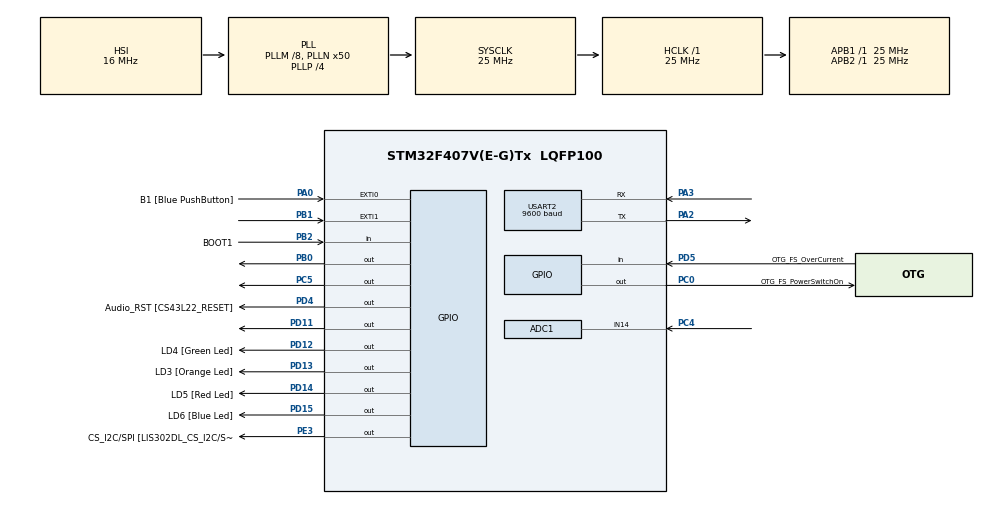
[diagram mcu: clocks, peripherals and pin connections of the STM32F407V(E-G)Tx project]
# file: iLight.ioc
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ADC1.Channel-0\#ChannelRegularConversion=ADC_CHANNEL_14
ADC1.NbrOfConversionFlag=1
ADC1.Rank-0\#ChannelRegularConversion=1
ADC1.SamplingTime-0\#ChannelRegularConversion=ADC_SAMPLETIME_3CYCLES
ADC1.master=1
Mcu.Family=STM32F4
Mcu.Name=STM32F407V(E-G)Tx
Mcu.Package=LQFP100
NVIC.EXTI1_IRQn=true\:0\:0\:false\:false\:true\:true
NVIC.PriorityGroup=NVIC_PRIORITYGROUP_0
NVIC.TIM1_UP_TIM10_IRQn=true\:0\:0\:false\:false\:true\:true
NVIC.TIM2_IRQn=true\:0\:0\:false\:false\:true\:true
NVIC.TIM8_TRG_COM_TIM14_IRQn=true\:0\:0\:false\:false\:true\:true
NVIC.USART2_IRQn=true\:0\:0\:false\:false\:true\:true
PA0-WKUP.GPIO_Label=B1 [Blue PushButton]
PA0-WKUP.Signal=GPXTI0
PA10.GPIO_Label=OTG_FS_ID
PA10.GPIO_Mode=GPIO_MODE_AF_PP
PA10.GPIO_PuPd=GPIO_NOPULL
PA10.GPIO_Speed=GPIO_SPEED_FREQ_LOW
PA10.Signal=USB_OTG_FS_ID
PA11.GPIO_Label=OTG_FS_DM
PA11.GPIO_Mode=GPIO_MODE_AF_PP
PA11.GPIO_PuPd=GPIO_NOPULL
PA11.GPIO_Speed=GPIO_SPEED_FREQ_LOW
PA11.Signal=USB_OTG_FS_DM
PA12.GPIO_Label=OTG_FS_DP
PA12.GPIO_Mode=GPIO_MODE_AF_PP
PA12.GPIO_PuPd=GPIO_NOPULL
PA12.GPIO_Speed=GPIO_SPEED_FREQ_LOW
PA12.Signal=USB_OTG_FS_DP
PA13.GPIO_Label=SWDIO
PA13.Signal=SYS_JTMS-SWDIO
PA14.GPIO_Label=SWCLK
PA14.Signal=SYS_JTCK-SWCLK
PA2.Mode=Asynchronous
PA2.Signal=USART2_TX
PA3.Mode=Asynchronous
PA3.Signal=USART2_RX
PA9.GPIO_Label=VBUS_FS
PA9.GPIO_Mode=GPIO_MODE_INPUT
PA9.GPIO_PuPd=GPIO_NOPULL
PA9.Signal=USB_OTG_FS_VBUS
PB0.Signal=GPIO_Output
PB1.GPIO_ModeDefaultEXTI=GPIO_MODE_IT_RISING_FALLING
PB1.Signal=GPXTI1
PB10.GPIO_Label=CLK_IN [MP45DT02_CLK]
PB10.GPIO_Mode=GPIO_MODE_AF_PP
PB10.GPIO_PuPd=GPIO_NOPULL
PB10.GPIO_Speed=GPIO_SPEED_FREQ_LOW
PB10.Signal=I2S2_CK
PB2.GPIO_Label=BOOT1
PB2.GPIO_Mode=GPIO_MODE_INPUT
PB2.GPIO_PuPd=GPIO_NOPULL
PB2.Signal=GPIO_Input
PB3.GPIO_Label=SWO
PB3.Signal=SYS_JTDO-SWO
PB6.GPIO_Label=Audio_SCL [CS43L22_SCL]
PB6.GPIO_Mode=GPIO_MODE_AF_OD
PB6.GPIO_PuPd=GPIO_NOPULL
PB6.GPIO_Speed=GPIO_SPEED_FREQ_LOW
PB6.Signal=I2C1_SCL
PB9.GPIO_Label=Audio_SDA [CS43L22_SDA]
PB9.GPIO_Mode=GPIO_MODE_AF_OD
PB9.GPIO_PuPd=GPIO_NOPULL
PB9.GPIO_Speed=GPIO_SPEED_FREQ_LOW
PB9.Signal=I2C1_SDA
PC0.GPIO_Label=OTG_FS_PowerSwitchOn
PC0.GPIO_PuPd=GPIO_NOPULL
PC0.GPIO_Speed=GPIO_SPEED_FREQ_LOW
PC0.PinState=GPIO_PIN_SET
PC0.Signal=GPIO_Output
PC10.GPIO_Label=I2S3_SCK [CS43L22_SCLK]
PC10.GPIO_Mode=GPIO_MODE_AF_PP
PC10.GPIO_PuPd=GPIO_NOPULL
PC10.GPIO_Speed=GPIO_SPEED_FREQ_LOW
PC10.Signal=I2S3_CK
PC12.GPIO_Label=I2S3_SD [CS43L22_SDIN]
PC12.GPIO_Mode=GPIO_MODE_AF_PP
PC12.GPIO_PuPd=GPIO_NOPULL
PC12.GPIO_Speed=GPIO_SPEED_FREQ_LOW
PC12.Signal=I2S3_SD
PC14-OSC32_IN.GPIO_Label=PC14-OSC32_IN
PC14-OSC32_IN.Signal=RCC_OSC32_IN
PC15-OSC32_OUT.GPIO_Label=PC15-OSC32_OUT
PC15-OSC32_OUT.Signal=RCC_OSC32_OUT
PC3.GPIO_Label=PDM_OUT [MP45DT02_DOUT]
PC3.GPIO_Mode=GPIO_MODE_AF_PP
PC3.GPIO_PuPd=GPIO_NOPULL
PC3.GPIO_Speed=GPIO_SPEED_FREQ_LOW
PC3.Signal=I2S2_SD
PC4.Signal=ADCx_IN14
PC5.Signal=GPIO_Output
PC7.GPIO_Label=I2S3_MCK [CS43L22_MCLK]
PC7.GPIO_Mode=GPIO_MODE_AF_PP
PC7.GPIO_PuPd=GPIO_NOPULL
PC7.GPIO_Speed=GPIO_SPEED_FREQ_LOW
PC7.Signal=I2S3_MCK
PD11.Signal=GPIO_Output
PD12.GPIO_Label=LD4 [Green Led]
PD12.GPIO_PuPd=GPIO_NOPULL
PD12.GPIO_Speed=GPIO_SPEED_FREQ_LOW
PD12.Signal=GPIO_Output
PD13.GPIO_Label=LD3 [Orange Led]
PD13.GPIO_PuPd=GPIO_NOPULL
PD13.GPIO_Speed=GPIO_SPEED_FREQ_LOW
PD13.Signal=GPIO_Output
PD14.GPIO_Label=LD5 [Red Led]
PD14.GPIO_PuPd=GPIO_NOPULL
PD14.GPIO_Speed=GPIO_SPEED_FREQ_LOW
PD14.Signal=GPIO_Output
PD15.GPIO_Label=LD6 [Blue Led]
PD15.GPIO_PuPd=GPIO_NOPULL
PD15.GPIO_Speed=GPIO_SPEED_FREQ_LOW
PD15.Signal=GPIO_Output
PD4.GPIO_Label=Audio_RST [CS43L22_RESET]
PD4.GPIO_PuPd=GPIO_NOPULL
PD4.GPIO_Speed=GPIO_SPEED_FREQ_LOW
PD4.Signal=GPIO_Output
PD5.GPIO_Label=OTG_FS_OverCurrent
PD5.GPIO_Mode=GPIO_MODE_INPUT
PD5.GPIO_PuPd=GPIO_NOPULL
PD5.Signal=GPIO_Input
PE3.GPIO_Label=CS_I2C/SPI [LIS302DL_CS_I2C/SPI]
PE3.GPIO_PuPd=GPIO_NOPULL
PE3.GPIO_Speed=GPIO_SPEED_FREQ_LOW
PE3.Signal=GPIO_Output
PH0-OSC_IN.GPIO_Label=PH0-OSC_IN
PH0-OSC_IN.Signal=RCC_OSC_IN
PH1-OSC_OUT.GPIO_Label=PH1-OSC_OUT
PH1-OSC_OUT.Signal=RCC_OSC_OUT
ProjectManager.HeapSize=0x200
ProjectManager.StackSize=0x400
ProjectManager.TargetToolchain=SW4STM32
RCC.48MHZClocksFreq_Value=14285714.285714285
RCC.AHBFreq_Value=25000000
RCC.APB1Freq_Value=25000000
RCC.APB1TimFreq_Value=25000000
RCC.APB2Freq_Value=25000000
RCC.APB2TimFreq_Value=25000000
RCC.CortexFreq_Value=25000000
RCC.HCLKFreq_Value=25000000
RCC.HSE_VALUE=8000000
RCC.HSI_VALUE=16000000
RCC.LSE_VALUE=32768
RCC.PLLM=8
RCC.PLLN=50
RCC.PLLP=RCC_PLLP_DIV4
RCC.PLLQ=7
RCC.SYSCLKFreq_VALUE=25000000
RCC.SYSCLKSource=RCC_SYSCLKSOURCE_PLLCLK
RCC.VCOOutputFreq_Value=100000000
SH.ADCx_IN14.0=ADC1_IN14,IN14
TIM10.Channel=TIM_CHANNEL_1
TIM10.Period=40
TIM10.Prescaler=25
TIM14.Channel=TIM_CHANNEL_1
TIM14.Period=50
TIM14.Prescaler=25
TIM2.Period=1000000
TIM2.Prescaler=25
USART2.BaudRate=9600
USART2.VirtualMode=VM_ASYNC
VP_TIM10_VS_ClockSourceINT.Mode=Enable_Timer
VP_TIM10_VS_no_output1.Mode=Output Compare1 No Output
VP_TIM14_VS_ClockSourceINT.Mode=Enable_Timer
VP_TIM14_VS_no_output1.Mode=Output Compare1 No Output
VP_TIM2_VS_ClockSourceINT.Mode=Internal
board=STM32F4DISCOVERY

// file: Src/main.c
/**
  ******************************************************************************
  * File Name          : main.c
  * Description        : Main program body
  ******************************************************************************
  ** This notice applies to any and all portions of this file
  * that are not between comment pairs USER CODE BEGIN and
  * USER CODE END. Other portions of this file, whether
  * inserted by the user or by software development tools
  * are owned by their respective copyright owners.
  *
  * COPYRIGHT(c) 2017 STMicroelectronics
  *
  * Redistribution and use in source and binary forms, with or without modification,
  * are permitted provided that the following conditions are met:
  *   1. Redistributions of source code must retain the above copyright notice,
  *      this list of conditions and the following disclaimer.
  *   2. Redistributions in binary form must reproduce the above copyright notice,
  *      this list of conditions and the following disclaimer in the documentation
  *      and/or other materials provided with the distribution.
  *   3. Neither the name of STMicroelectronics nor the names of its contributors
  *      may be used to endorse or promote products derived from this software
  *      without specific prior written permission.
  *
  * THIS SOFTWARE IS PROVIDED BY THE COPYRIGHT HOLDERS AND CONTRIBUTORS "AS IS"
  * AND ANY EXPRESS OR IMPLIED WARRANTIES, INCLUDING, BUT NOT LIMITED TO, THE
  * IMPLIED WARRANTIES OF MERCHANTABILITY AND FITNESS FOR A PARTICULAR PURPOSE ARE
  * DISCLAIMED. IN NO EVENT SHALL THE COPYRIGHT HOLDER OR CONTRIBUTORS BE LIABLE
  * FOR ANY DIRECT, INDIRECT, INCIDENTAL, SPECIAL, EXEMPLARY, OR CONSEQUENTIAL
  * DAMAGES (INCLUDING, BUT NOT LIMITED TO, PROCUREMENT OF SUBSTITUTE GOODS OR
  * SERVICES; LOSS OF USE, DATA, OR PROFITS; OR BUSINESS INTERRUPTION) HOWEVER
  * CAUSED AND ON ANY THEORY OF LIABILITY, WHETHER IN CONTRACT, STRICT LIABILITY,
  * OR TORT (INCLUDING NEGLIGENCE OR OTHERWISE) ARISING IN ANY WAY OUT OF THE USE
  * OF THIS SOFTWARE, EVEN IF ADVISED OF THE POSSIBILITY OF SUCH DAMAGE.
  *
  ******************************************************************************
  */

#include "main.h"
#include "stm32f4xx_hal.h"

ADC_HandleTypeDef hadc1;

TIM_HandleTypeDef htim2;
TIM_HandleTypeDef htim10;
TIM_HandleTypeDef htim14;

UART_HandleTypeDef huart2;

/* USER CODE BEGIN PV */
/* Private variables ---------------------------------------------------------*/
uint32_t US015_echo_time, US015_distance, temp_echo_time;
uint8_t l[64] = "000000";
uint16_t dc = 0, pulse = 0, count = 0, inc = 1, dc2 = 5, count2 = 0, sp = 0;
int16_t state = 0,ldr = 200, distance = 200;
int data_in_l, data_received;
unsigned char data_in[64], buff;
int a;
/* USER CODE END PV */

void SystemClock_Config(void);
static void MX_GPIO_Init(void);
static void MX_TIM2_Init(void);
static void MX_USART2_UART_Init(void);
static void MX_TIM14_Init(void);
static void MX_TIM10_Init(void);
static void MX_ADC1_Init(void);

/* USER CODE BEGIN PFP */
/* Private function prototypes -----------------------------------------------*/
void dimming(void);
void dayNight(void);
void distances(void);
void path(void);
void switchLED(uint8_t);
void parse(void);
void transmit(void);
/* USER CODE END PFP */

/* USER CODE BEGIN 0 */

void HAL_UART_RxCpltCallback(UART_HandleTypeDef *huart)
{
  if(huart->Instance == USART2)
  {
	  if(buff != '\r')
	  {
		  data_in[data_in_l++] = buff;
	  }
	  else
	  {
		  data_received = 1;
	  }
	  HAL_UART_Receive_IT(&huart2, &buff, 1);
  }
}

void HAL_TIM_PeriodElapsedCallback(TIM_HandleTypeDef *htim) {
	if (htim == &htim10) {
		dimming();
	} else if (htim == &htim14) {
		HAL_TIM_Base_Stop_IT(&htim14);
		HAL_GPIO_WritePin(GPIOB, GPIO_PIN_0, GPIO_PIN_RESET);
	}
}

void HAL_GPIO_EXTI_Callback(uint16_t GPIO_Pin) {
	if (GPIO_Pin == GPIO_PIN_1) {
		if (HAL_GPIO_ReadPin(GPIOB, GPIO_PIN_1) == GPIO_PIN_SET) {
			HAL_TIM_Base_Start_IT(&htim2);
		} else {
			temp_echo_time = __HAL_TIM_GET_COUNTER(&htim2);
			HAL_TIM_Base_Stop_IT(&htim2);
			__HAL_TIM_GET_COUNTER(&htim2) = 0;
			if (temp_echo_time < 60000 && temp_echo_time > 1
					&& US015_echo_time == 0) {
				US015_echo_time = temp_echo_time;
			}
		}
	}
}

void dimming() {
	if (state == 1) {
		if (dc <= 220 && dc > 140) {
			if (count < dc - 120)
				HAL_GPIO_WritePin(GPIOD, GPIO_PIN_14, GPIO_PIN_SET);
			else
				HAL_GPIO_WritePin(GPIOD, GPIO_PIN_14, GPIO_PIN_RESET);
			if (++count >= 100) {
				count = 0;
				if (++pulse >= 10) {
					pulse = 0;
					if (dc <= 220 && dc >= 140) {
						dc -= inc;
					}
				}
			}
		}
		if (dc > 80 && dc <= 160) {
			if (count < dc - 60)
				HAL_GPIO_WritePin(GPIOD, GPIO_PIN_13, GPIO_PIN_SET);
			else
				HAL_GPIO_WritePin(GPIOD, GPIO_PIN_13, GPIO_PIN_RESET);
			if (++count >= 100) {
				count = 0;
				if (++pulse >= 10) {
					pulse = 0;
					if (dc >= 80 && dc <= 140) {
						dc -= inc;
					}
				}
			}
		}
		if (dc > 20 && dc <= 100) {
			if (count < dc)
				HAL_GPIO_WritePin(GPIOD, GPIO_PIN_12, GPIO_PIN_SET);
			else
				HAL_GPIO_WritePin(GPIOD, GPIO_PIN_12, GPIO_PIN_RESET);
			if (++count >= 100) {
				count = 0;
				if (++pulse >= 10) {
					pulse = 0;
					if (dc > 20 && dc <= 80) {
						dc -= inc;
					} else
						dc = 0;
				}
			}
		}
		if (dc <= 140) {
			if (count2 < dc2)HAL_GPIO_WritePin(GPIOD, GPIO_PIN_14, GPIO_PIN_SET);
			else HAL_GPIO_WritePin(GPIOD, GPIO_PIN_14, GPIO_PIN_RESET);
			if (++count2 >= 100) {
				count2 = 0;
				if (++pulse >= 10) {
					pulse = 0;
				}
			}
		}
		if (dc <= 80 || dc > 160) {
			if (count2 < dc2)HAL_GPIO_WritePin(GPIOD, GPIO_PIN_13, GPIO_PIN_SET);
			else HAL_GPIO_WritePin(GPIOD, GPIO_PIN_13, GPIO_PIN_RESET);
			if (++count2 >= 100) {
				count2 = 0;
				if (++pulse >= 10) {
					pulse = 0;
				}
			}
		}
		if (dc <= 20 || dc > 100) {
			if (count2 < dc2)HAL_GPIO_WritePin(GPIOD, GPIO_PIN_12, GPIO_PIN_SET);
			else HAL_GPIO_WritePin(GPIOD, GPIO_PIN_12, GPIO_PIN_RESET);
			if (++count2 >= 100) {
				count2 = 0;
				if (++pulse >= 10) {
					pulse = 0;
				}
			}
		}
		l[1] = '2';
		l[2] = '2';
		l[3] = '2';
	}else{
		l[1] = '0';
		l[2] = '0';
		l[3] = '0';
	}
}

void dayNight(){
	if (state == 0) {
		HAL_GPIO_WritePin(GPIOD, GPIO_PIN_12, GPIO_PIN_RESET);
		HAL_GPIO_WritePin(GPIOD, GPIO_PIN_13, GPIO_PIN_RESET);
		HAL_GPIO_WritePin(GPIOD, GPIO_PIN_14, GPIO_PIN_RESET);
		HAL_GPIO_WritePin(GPIOC, GPIO_PIN_5, GPIO_PIN_RESET);
		dc = 0;
		l[0] = '0';
	} else if (state == 1) {
		HAL_GPIO_WritePin(GPIOC, GPIO_PIN_5, GPIO_PIN_SET);
		l[0] = '1';
	}
}

void distances(){
	if(US015_distance < distance*0.7){
		HAL_GPIO_WritePin(GPIOD, GPIO_PIN_11, GPIO_PIN_SET);
		l[4] = '1';
	}else{
		HAL_GPIO_WritePin(GPIOD, GPIO_PIN_11, GPIO_PIN_RESET);
		l[4] = '0';
	}
}

void path(){
	if (US015_distance < distance*0.8 && US015_distance > 0 && sp == 0) {
		sp = 1;
		if (dc <= 20)dc = 220;
	} else if (US015_distance > distance-10) {
		sp = 0;
	}
}

void switchLED(uint8_t s){
	if(s == '1'){
		HAL_GPIO_WritePin(GPIOD, GPIO_PIN_15,GPIO_PIN_SET);
		l[5] = '1';
	}else{
		HAL_GPIO_WritePin(GPIOD, GPIO_PIN_15,GPIO_PIN_RESET);
		l[5] = '0';
	}
}

void parse(){
	 int d = 0;
	 int j = 0;
	 while(data_in[j] != ';'){
		 d*=10;
		 d+= data_in[j]-'0';
		 j++;
	 }
	 distance = d;
	 j++;
	 d=0;
	 while(data_in[j] != ';'){
		 d*=10;
		 d+= data_in[j]-'0';
		 j++;
	 }
	 ldr = d;
	 j++;
	 switchLED(data_in[j]);
}

void transmit(){
	l[6] = '\0';
//	l[6] = '|';
	sprintf(l, "%s|%d|%d|%lu|%d", l, a, ldr, US015_distance, distance);
	HAL_UART_Transmit(&huart2, l, 32, 100);
//	HAL_UART_Transmit_IT(&huart2, &l[0], 1);
//	HAL_UART_Transmit_IT(&huart2, &l[1], 1);
//	HAL_UART_Transmit_IT(&huart2, &l[2], 1);
//	HAL_UART_Transmit_IT(&huart2, &l[3], 1);
//	HAL_UART_Transmit_IT(&huart2, &l[4], 1);
//	HAL_UART_Transmit_IT(&huart2, &l[5], 1);
}

void cal() {
	a = HAL_ADC_GetValue(&hadc1);
	char c[128];
	sprintf(c, "%d\n\r", a);
	//HAL_UART_Transmit(&huart2,c,strlen(c),100);
	if (a < ldr) {
		state = 1;
	} else if (a > ldr+100) {
		state = 0;
	}
}
/* USER CODE END 0 */

int main(void)
{

  /* MCU Configuration----------------------------------------------------------*/

  /* Reset of all peripherals, Initializes the Flash interface and the Systick. */
  HAL_Init();

  /* Configure the system clock */
  SystemClock_Config();

  /* Initialize all configured peripherals */
  MX_GPIO_Init();
  MX_TIM2_Init();
  MX_USART2_UART_Init();
  MX_TIM14_Init();
  MX_TIM10_Init();
  MX_ADC1_Init();

  /* USER CODE BEGIN 2 */

//  HAL_TIM_Base_Start_IT(&htim2);
	HAL_TIM_Base_Start_IT(&htim10);
	HAL_GPIO_WritePin(GPIOD, GPIO_PIN_14, GPIO_PIN_SET);

	data_in_l = data_received = 0;
	HAL_UART_Receive_IT(&huart2, &buff, 1);

  /* USER CODE END 2 */

  /* Infinite loop */
	while (1) {

  /* USER CODE BEGIN 3 */

		// Data from NodeMCU
		if(data_received)
		{
			  data_received = 0;
			  parse();
//			  HAL_UART_Transmit_IT(&huart2, data_in, data_in_l);
			  data_in_l = 0;
		}

		// LDR analog input
		HAL_ADC_Start(&hadc1);
		cal();

		// Start trigger pulse
		US015_echo_time = 0;
		HAL_GPIO_WritePin(GPIOB, GPIO_PIN_0, GPIO_PIN_SET);
		HAL_TIM_Base_Start_IT(&htim14);
		HAL_Delay(100);
		US015_distance = (US015_echo_time * 34 / 100) / 2;

		dayNight();
		distances();
		path();
		transmit();
		HAL_Delay(900);

	}
  /* USER CODE END 3 */

}

/** System Clock Configuration
*/
void SystemClock_Config(void)
{

  RCC_OscInitTypeDef RCC_OscInitStruct;
  RCC_ClkInitTypeDef RCC_ClkInitStruct;

    /**Configure the main internal regulator output voltage
    */
  __HAL_RCC_PWR_CLK_ENABLE();

  __HAL_PWR_VOLTAGESCALING_CONFIG(PWR_REGULATOR_VOLTAGE_SCALE1);

    /**Initializes the CPU, AHB and APB busses clocks
    */
  RCC_OscInitStruct.OscillatorType = RCC_OSCILLATORTYPE_HSI;
  RCC_OscInitStruct.HSIState = RCC_HSI_ON;
  RCC_OscInitStruct.HSICalibrationValue = 16;
  RCC_OscInitStruct.PLL.PLLState = RCC_PLL_ON;
  RCC_OscInitStruct.PLL.PLLSource = RCC_PLLSOURCE_HSI;
  RCC_OscInitStruct.PLL.PLLM = 8;
  RCC_OscInitStruct.PLL.PLLN = 50;
  RCC_OscInitStruct.PLL.PLLP = RCC_PLLP_DIV4;
  RCC_OscInitStruct.PLL.PLLQ = 7;
  if (HAL_RCC_OscConfig(&RCC_OscInitStruct) != HAL_OK)
  {
    _Error_Handler(__FILE__, __LINE__);
  }

    /**Initializes the CPU, AHB and APB busses clocks
    */
  RCC_ClkInitStruct.ClockType = RCC_CLOCKTYPE_HCLK|RCC_CLOCKTYPE_SYSCLK
                              |RCC_CLOCKTYPE_PCLK1|RCC_CLOCKTYPE_PCLK2;
  RCC_ClkInitStruct.SYSCLKSource = RCC_SYSCLKSOURCE_PLLCLK;
  RCC_ClkInitStruct.AHBCLKDivider = RCC_SYSCLK_DIV1;
  RCC_ClkInitStruct.APB1CLKDivider = RCC_HCLK_DIV1;
  RCC_ClkInitStruct.APB2CLKDivider = RCC_HCLK_DIV1;

  if (HAL_RCC_ClockConfig(&RCC_ClkInitStruct, FLASH_LATENCY_0) != HAL_OK)
  {
    _Error_Handler(__FILE__, __LINE__);
  }

    /**Configure the Systick interrupt time
    */
  HAL_SYSTICK_Config(HAL_RCC_GetHCLKFreq()/1000);

    /**Configure the Systick
    */
  HAL_SYSTICK_CLKSourceConfig(SYSTICK_CLKSOURCE_HCLK);

  /* SysTick_IRQn interrupt configuration */
  HAL_NVIC_SetPriority(SysTick_IRQn, 0, 0);
}

/* ADC1 init function */
static void MX_ADC1_Init(void)
{

  ADC_ChannelConfTypeDef sConfig;

    /**Configure the global features of the ADC (Clock, Resolution, Data Alignment and number of conversion)
    */
  hadc1.Instance = ADC1;
  hadc1.Init.ClockPrescaler = ADC_CLOCK_SYNC_PCLK_DIV2;
  hadc1.Init.Resolution = ADC_RESOLUTION_12B;
  hadc1.Init.ScanConvMode = DISABLE;
  hadc1.Init.ContinuousConvMode = DISABLE;
  hadc1.Init.DiscontinuousConvMode = DISABLE;
  hadc1.Init.ExternalTrigConvEdge = ADC_EXTERNALTRIGCONVEDGE_NONE;
  hadc1.Init.ExternalTrigConv = ADC_SOFTWARE_START;
  hadc1.Init.DataAlign = ADC_DATAALIGN_RIGHT;
  hadc1.Init.NbrOfConversion = 1;
  hadc1.Init.DMAContinuousRequests = DISABLE;
  hadc1.Init.EOCSelection = ADC_EOC_SINGLE_CONV;
  if (HAL_ADC_Init(&hadc1) != HAL_OK)
  {
    _Error_Handler(__FILE__, __LINE__);
  }

    /**Configure for the selected ADC regular channel its corresponding rank in the sequencer and its sample time.
    */
  sConfig.Channel = ADC_CHANNEL_14;
  sConfig.Rank = 1;
  sConfig.SamplingTime = ADC_SAMPLETIME_3CYCLES;
  if (HAL_ADC_ConfigChannel(&hadc1, &sConfig) != HAL_OK)
  {
    _Error_Handler(__FILE__, __LINE__);
  }

}

/* TIM2 init function */
static void MX_TIM2_Init(void)
{

  TIM_ClockConfigTypeDef sClockSourceConfig;
  TIM_MasterConfigTypeDef sMasterConfig;

  htim2.Instance = TIM2;
  htim2.Init.Prescaler = 25;
  htim2.Init.CounterMode = TIM_COUNTERMODE_UP;
  htim2.Init.Period = 1000000;
  htim2.Init.ClockDivision = TIM_CLOCKDIVISION_DIV1;
  if (HAL_TIM_Base_Init(&htim2) != HAL_OK)
  {
    _Error_Handler(__FILE__, __LINE__);
  }

  sClockSourceConfig.ClockSource = TIM_CLOCKSOURCE_INTERNAL;
  if (HAL_TIM_ConfigClockSource(&htim2, &sClockSourceConfig) != HAL_OK)
  {
    _Error_Handler(__FILE__, __LINE__);
  }

  sMasterConfig.MasterOutputTrigger = TIM_TRGO_RESET;
  sMasterConfig.MasterSlaveMode = TIM_MASTERSLAVEMODE_DISABLE;
  if (HAL_TIMEx_MasterConfigSynchronization(&htim2, &sMasterConfig) != HAL_OK)
  {
    _Error_Handler(__FILE__, __LINE__);
  }

}

/* TIM10 init function */
static void MX_TIM10_Init(void)
{

  TIM_OC_InitTypeDef sConfigOC;

  htim10.Instance = TIM10;
  htim10.Init.Prescaler = 25;
  htim10.Init.CounterMode = TIM_COUNTERMODE_UP;
  htim10.Init.Period = 40;
  htim10.Init.ClockDivision = TIM_CLOCKDIVISION_DIV1;
  if (HAL_TIM_Base_Init(&htim10) != HAL_OK)
  {
    _Error_Handler(__FILE__, __LINE__);
  }

  if (HAL_TIM_OC_Init(&htim10) != HAL_OK)
  {
    _Error_Handler(__FILE__, __LINE__);
  }

  sConfigOC.OCMode = TIM_OCMODE_TIMING;
  sConfigOC.Pulse = 0;
  sConfigOC.OCPolarity = TIM_OCPOLARITY_HIGH;
  sConfigOC.OCFastMode = TIM_OCFAST_DISABLE;
  if (HAL_TIM_OC_ConfigChannel(&htim10, &sConfigOC, TIM_CHANNEL_1) != HAL_OK)
  {
    _Error_Handler(__FILE__, __LINE__);
  }

}

/* TIM14 init function */
static void MX_TIM14_Init(void)
{

  TIM_OC_InitTypeDef sConfigOC;

  htim14.Instance = TIM14;
  htim14.Init.Prescaler = 25;
  htim14.Init.CounterMode = TIM_COUNTERMODE_UP;
  htim14.Init.Period = 50;
  htim14.Init.ClockDivision = TIM_CLOCKDIVISION_DIV1;
  if (HAL_TIM_Base_Init(&htim14) != HAL_OK)
  {
    _Error_Handler(__FILE__, __LINE__);
  }

  if (HAL_TIM_OC_Init(&htim14) != HAL_OK)
  {
    _Error_Handler(__FILE__, __LINE__);
  }

  sConfigOC.OCMode = TIM_OCMODE_TIMING;
  sConfigOC.Pulse = 0;
  sConfigOC.OCPolarity = TIM_OCPOLARITY_HIGH;
  sConfigOC.OCFastMode = TIM_OCFAST_DISABLE;
  if (HAL_TIM_OC_ConfigChannel(&htim14, &sConfigOC, TIM_CHANNEL_1) != HAL_OK)
  {
    _Error_Handler(__FILE__, __LINE__);
  }

}

/* USART2 init function */
static void MX_USART2_UART_Init(void)
{

  huart2.Instance = USART2;
  huart2.Init.BaudRate = 9600;
  huart2.Init.WordLength = UART_WORDLENGTH_8B;
  huart2.Init.StopBits = UART_STOPBITS_1;
  huart2.Init.Parity = UART_PARITY_NONE;
  huart2.Init.Mode = UART_MODE_TX_RX;
  huart2.Init.HwFlowCtl = UART_HWCONTROL_NONE;
  huart2.Init.OverSampling = UART_OVERSAMPLING_16;
  if (HAL_UART_Init(&huart2) != HAL_OK)
  {
    _Error_Handler(__FILE__, __LINE__);
  }

}

/** Configure pins as
        * Analog
        * Input
        * Output
        * EVENT_OUT
        * EXTI
     PC3   ------> I2S2_SD
     PB10   ------> I2S2_CK
     PC7   ------> I2S3_MCK
     PA9   ------> USB_OTG_FS_VBUS
     PA10   ------> USB_OTG_FS_ID
     PA11   ------> USB_OTG_FS_DM
     PA12   ------> USB_OTG_FS_DP
     PC10   ------> I2S3_CK
     PC12   ------> I2S3_SD
     PB6   ------> I2C1_SCL
     PB9   ------> I2C1_SDA
*/
static void MX_GPIO_Init(void)
{

  GPIO_InitTypeDef GPIO_InitStruct;

  /* GPIO Ports Clock Enable */
  __HAL_RCC_GPIOE_CLK_ENABLE();
  __HAL_RCC_GPIOC_CLK_ENABLE();
  __HAL_RCC_GPIOH_CLK_ENABLE();
  __HAL_RCC_GPIOA_CLK_ENABLE();
  __HAL_RCC_GPIOB_CLK_ENABLE();
  __HAL_RCC_GPIOD_CLK_ENABLE();

  /*Configure GPIO pin Output Level */
  HAL_GPIO_WritePin(CS_I2C_SPI_GPIO_Port, CS_I2C_SPI_Pin, GPIO_PIN_RESET);

  /*Configure GPIO pin Output Level */
  HAL_GPIO_WritePin(OTG_FS_PowerSwitchOn_GPIO_Port, OTG_FS_PowerSwitchOn_Pin, GPIO_PIN_SET);

  /*Configure GPIO pin Output Level */
  HAL_GPIO_WritePin(GPIOC, GPIO_PIN_5, GPIO_PIN_RESET);

  /*Configure GPIO pin Output Level */
  HAL_GPIO_WritePin(GPIOB, GPIO_PIN_0, GPIO_PIN_RESET);

  /*Configure GPIO pin Output Level */
  HAL_GPIO_WritePin(GPIOD, GPIO_PIN_11|LD4_Pin|LD3_Pin|LD5_Pin
                          |LD6_Pin|Audio_RST_Pin, GPIO_PIN_RESET);

  /*Configure GPIO pin : CS_I2C_SPI_Pin */
  GPIO_InitStruct.Pin = CS_I2C_SPI_Pin;
  GPIO_InitStruct.Mode = GPIO_MODE_OUTPUT_PP;
  GPIO_InitStruct.Pull = GPIO_NOPULL;
  GPIO_InitStruct.Speed = GPIO_SPEED_FREQ_LOW;
  HAL_GPIO_Init(CS_I2C_SPI_GPIO_Port, &GPIO_InitStruct);

  /*Configure GPIO pins : OTG_FS_PowerSwitchOn_Pin PC5 */
  GPIO_InitStruct.Pin = OTG_FS_PowerSwitchOn_Pin|GPIO_PIN_5;
  GPIO_InitStruct.Mode = GPIO_MODE_OUTPUT_PP;
  GPIO_InitStruct.Pull = GPIO_NOPULL;
  GPIO_InitStruct.Speed = GPIO_SPEED_FREQ_LOW;
  HAL_GPIO_Init(GPIOC, &GPIO_InitStruct);

  /*Configure GPIO pin : PDM_OUT_Pin */
  GPIO_InitStruct.Pin = PDM_OUT_Pin;
  GPIO_InitStruct.Mode = GPIO_MODE_AF_PP;
  GPIO_InitStruct.Pull = GPIO_NOPULL;
  GPIO_InitStruct.Speed = GPIO_SPEED_FREQ_LOW;
  GPIO_InitStruct.Alternate = GPIO_AF5_SPI2;
  HAL_GPIO_Init(PDM_OUT_GPIO_Port, &GPIO_InitStruct);

  /*Configure GPIO pin : B1_Pin */
  GPIO_InitStruct.Pin = B1_Pin;
  GPIO_InitStruct.Mode = GPIO_MODE_IT_RISING;
  GPIO_InitStruct.Pull = GPIO_NOPULL;
  HAL_GPIO_Init(B1_GPIO_Port, &GPIO_InitStruct);

  /*Configure GPIO pin : PB0 */
  GPIO_InitStruct.Pin = GPIO_PIN_0;
  GPIO_InitStruct.Mode = GPIO_MODE_OUTPUT_PP;
  GPIO_InitStruct.Pull = GPIO_NOPULL;
  GPIO_InitStruct.Speed = GPIO_SPEED_FREQ_LOW;
  HAL_GPIO_Init(GPIOB, &GPIO_InitStruct);

  /*Configure GPIO pin : PB1 */
  GPIO_InitStruct.Pin = GPIO_PIN_1;
  GPIO_InitStruct.Mode = GPIO_MODE_IT_RISING_FALLING;
  GPIO_InitStruct.Pull = GPIO_NOPULL;
  HAL_GPIO_Init(GPIOB, &GPIO_InitStruct);

  /*Configure GPIO pin : BOOT1_Pin */
  GPIO_InitStruct.Pin = BOOT1_Pin;
  GPIO_InitStruct.Mode = GPIO_MODE_INPUT;
  GPIO_InitStruct.Pull = GPIO_NOPULL;
  HAL_GPIO_Init(BOOT1_GPIO_Port, &GPIO_InitStruct);

  /*Configure GPIO pin : CLK_IN_Pin */
  GPIO_InitStruct.Pin = CLK_IN_Pin;
  GPIO_InitStruct.Mode = GPIO_MODE_AF_PP;
  GPIO_InitStruct.Pull = GPIO_NOPULL;
  GPIO_InitStruct.Speed = GPIO_SPEED_FREQ_LOW;
  GPIO_InitStruct.Alternate = GPIO_AF5_SPI2;
  HAL_GPIO_Init(CLK_IN_GPIO_Port, &GPIO_InitStruct);

  /*Configure GPIO pins : PD11 LD4_Pin LD3_Pin LD5_Pin
                           LD6_Pin Audio_RST_Pin */
  GPIO_InitStruct.Pin = GPIO_PIN_11|LD4_Pin|LD3_Pin|LD5_Pin
                          |LD6_Pin|Audio_RST_Pin;
  GPIO_InitStruct.Mode = GPIO_MODE_OUTPUT_PP;
  GPIO_InitStruct.Pull = GPIO_NOPULL;
  GPIO_InitStruct.Speed = GPIO_SPEED_FREQ_LOW;
  HAL_GPIO_Init(GPIOD, &GPIO_InitStruct);

  /*Configure GPIO pins : I2S3_MCK_Pin I2S3_SCK_Pin I2S3_SD_Pin */
  GPIO_InitStruct.Pin = I2S3_MCK_Pin|I2S3_SCK_Pin|I2S3_SD_Pin;
  GPIO_InitStruct.Mode = GPIO_MODE_AF_PP;
  GPIO_InitStruct.Pull = GPIO_NOPULL;
  GPIO_InitStruct.Speed = GPIO_SPEED_FREQ_LOW;
  GPIO_InitStruct.Alternate = GPIO_AF6_SPI3;
  HAL_GPIO_Init(GPIOC, &GPIO_InitStruct);

  /*Configure GPIO pin : VBUS_FS_Pin */
  GPIO_InitStruct.Pin = VBUS_FS_Pin;
  GPIO_InitStruct.Mode = GPIO_MODE_INPUT;
  GPIO_InitStruct.Pull = GPIO_NOPULL;
  HAL_GPIO_Init(VBUS_FS_GPIO_Port, &GPIO_InitStruct);

  /*Configure GPIO pins : OTG_FS_ID_Pin OTG_FS_DM_Pin OTG_FS_DP_Pin */
  GPIO_InitStruct.Pin = OTG_FS_ID_Pin|OTG_FS_DM_Pin|OTG_FS_DP_Pin;
  GPIO_InitStruct.Mode = GPIO_MODE_AF_PP;
  GPIO_InitStruct.Pull = GPIO_NOPULL;
  GPIO_InitStruct.Speed = GPIO_SPEED_FREQ_LOW;
  GPIO_InitStruct.Alternate = GPIO_AF10_OTG_FS;
  HAL_GPIO_Init(GPIOA, &GPIO_InitStruct);

  /*Configure GPIO pin : OTG_FS_OverCurrent_Pin */
  GPIO_InitStruct.Pin = OTG_FS_OverCurrent_Pin;
  GPIO_InitStruct.Mode = GPIO_MODE_INPUT;
  GPIO_InitStruct.Pull = GPIO_NOPULL;
  HAL_GPIO_Init(OTG_FS_OverCurrent_GPIO_Port, &GPIO_InitStruct);

  /*Configure GPIO pins : Audio_SCL_Pin Audio_SDA_Pin */
  GPIO_InitStruct.Pin = Audio_SCL_Pin|Audio_SDA_Pin;
  GPIO_InitStruct.Mode = GPIO_MODE_AF_OD;
  GPIO_InitStruct.Pull = GPIO_PULLUP;
  GPIO_InitStruct.Speed = GPIO_SPEED_FREQ_LOW;
  GPIO_InitStruct.Alternate = GPIO_AF4_I2C1;
  HAL_GPIO_Init(GPIOB, &GPIO_InitStruct);

  /* EXTI interrupt init*/
  HAL_NVIC_SetPriority(EXTI1_IRQn, 0, 0);
  HAL_NVIC_EnableIRQ(EXTI1_IRQn);

}

void _Error_Handler(char * file, int line)
{
	while (1) {
	}
}

/************************ (C) COPYRIGHT STMicroelectronics *****END OF FILE****/
